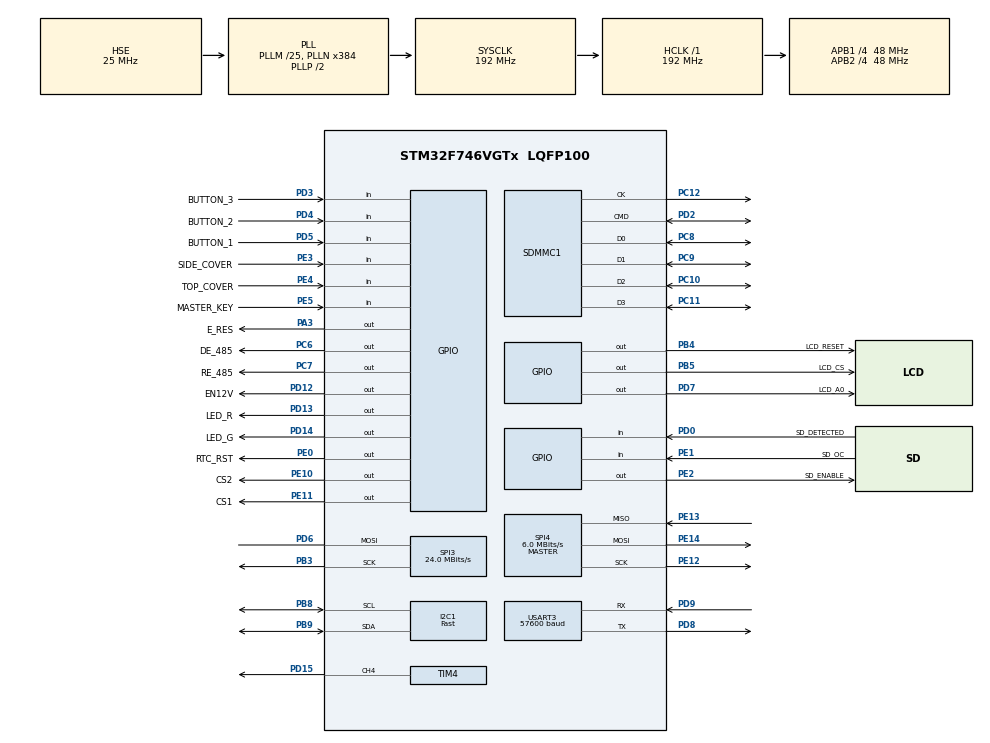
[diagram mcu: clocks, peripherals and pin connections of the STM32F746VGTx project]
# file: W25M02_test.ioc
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CORTEX_M7.ART_ACCLERATOR_ENABLE=1
CORTEX_M7.AccessPermission-Cortex_Memory_Protection_Unit_Region0_Settings=MPU_REGION_FULL_ACCESS
CORTEX_M7.BaseAddress-Cortex_Memory_Protection_Unit_Region0_Settings=0x20010000
CORTEX_M7.CPU_DCache=Enabled
CORTEX_M7.CPU_ICache=Enabled
CORTEX_M7.Enable-Cortex_Memory_Protection_Unit_Region0_Settings=MPU_REGION_ENABLE
CORTEX_M7.IsCacheable-Cortex_Memory_Protection_Unit_Region0_Settings=MPU_ACCESS_CACHEABLE
CORTEX_M7.MPU_Control=MPU_PRIVILEGED_DEFAULT
CORTEX_M7.PREFETCH_ENABLE=1
CORTEX_M7.Size-Cortex_Memory_Protection_Unit_Region0_Settings=MPU_REGION_SIZE_4KB
Dma.Request0=SDMMC1_RX
Dma.Request1=SDMMC1_TX
Dma.SDMMC1_RX.0.Direction=DMA_PERIPH_TO_MEMORY
Dma.SDMMC1_RX.0.FIFOMode=DMA_FIFOMODE_ENABLE
Dma.SDMMC1_RX.0.FIFOThreshold=DMA_FIFO_THRESHOLD_FULL
Dma.SDMMC1_RX.0.Instance=DMA2_Stream3
Dma.SDMMC1_RX.0.MemBurst=DMA_MBURST_INC4
Dma.SDMMC1_RX.0.MemDataAlignment=DMA_MDATAALIGN_WORD
Dma.SDMMC1_RX.0.MemInc=DMA_MINC_ENABLE
Dma.SDMMC1_RX.0.Mode=DMA_PFCTRL
Dma.SDMMC1_RX.0.PeriphBurst=DMA_PBURST_INC4
Dma.SDMMC1_RX.0.PeriphDataAlignment=DMA_PDATAALIGN_WORD
Dma.SDMMC1_RX.0.PeriphInc=DMA_PINC_DISABLE
Dma.SDMMC1_RX.0.Priority=DMA_PRIORITY_HIGH
Dma.SDMMC1_TX.1.Direction=DMA_MEMORY_TO_PERIPH
Dma.SDMMC1_TX.1.FIFOMode=DMA_FIFOMODE_ENABLE
Dma.SDMMC1_TX.1.FIFOThreshold=DMA_FIFO_THRESHOLD_FULL
Dma.SDMMC1_TX.1.Instance=DMA2_Stream6
Dma.SDMMC1_TX.1.MemBurst=DMA_MBURST_INC4
Dma.SDMMC1_TX.1.MemDataAlignment=DMA_MDATAALIGN_WORD
Dma.SDMMC1_TX.1.MemInc=DMA_MINC_ENABLE
Dma.SDMMC1_TX.1.Mode=DMA_PFCTRL
Dma.SDMMC1_TX.1.PeriphBurst=DMA_PBURST_INC4
Dma.SDMMC1_TX.1.PeriphDataAlignment=DMA_PDATAALIGN_WORD
Dma.SDMMC1_TX.1.PeriphInc=DMA_PINC_DISABLE
Dma.SDMMC1_TX.1.Priority=DMA_PRIORITY_HIGH
FATFS.BSP.number=1
FATFS._MAX_LFN=63
FATFS._MAX_SS=4096
FATFS._USE_LFN=3
FATFS._USE_MUTEX=1
FATFS0.BSP.STBoard=false
FATFS0.BSP.api=Unknown
FATFS0.BSP.i2caddr=0
FATFS0.BSP.instance=PD0
FATFS0.BSP.ip=GPIO
FATFS0.BSP.mode=Input
FATFS0.BSP.name=Detect_SDIO
FATFS0.BSP.solution=PD0
FREERTOS.HEAP_NUMBER=4
FREERTOS.INCLUDE_vTaskDelayUntil=1
FREERTOS.MEMORY_ALLOCATION=2
FREERTOS.Tasks01=defaultTask,0,512,StartDefaultTask,Default,NULL,Dynamic,NULL,NULL
FREERTOS.configTOTAL_HEAP_SIZE=32000
FREERTOS.configUSE_TIMERS=1
I2C1.I2C_Speed_Mode=I2C_Fast
I2C1.Timing=0x2010091A
IWDG.Prescaler=IWDG_PRESCALER_64
Mcu.Family=STM32F7
Mcu.Name=STM32F746VGTx
Mcu.Package=LQFP100
NVIC.DMA2_Stream3_IRQn=true\:5\:0\:false\:false\:true\:true\:false\:true
NVIC.DMA2_Stream6_IRQn=true\:5\:0\:false\:false\:true\:true\:false\:true
NVIC.PriorityGroup=NVIC_PRIORITYGROUP_4
NVIC.SDMMC1_IRQn=true\:5\:0\:false\:false\:true\:true\:true\:true
NVIC.TIM5_IRQn=true\:0\:0\:false\:false\:true\:false\:false\:true
NVIC.TimeBase=TIM5_IRQn
NVIC.TimeBaseIP=TIM5
NVIC.USART3_IRQn=true\:5\:0\:false\:false\:true\:true\:true\:true
PA13.Mode=Serial_Wire
PA13.Signal=SYS_JTMS-SWDIO
PA14.Mode=Serial_Wire
PA14.Signal=SYS_JTCK-SWCLK
PA3.GPIO_Label=E_RES
PA3.Signal=GPIO_Output
PB3.Mode=Simplex_Bidirectional_Master
PB3.Signal=SPI3_SCK
PB4.GPIO_Label=LCD_RESET
PB4.Signal=GPIO_Output
PB5.GPIO_Label=LCD_CS
PB5.Signal=GPIO_Output
PB8.Mode=I2C
PB8.Signal=I2C1_SCL
PB9.Mode=I2C
PB9.Signal=I2C1_SDA
PC10.Mode=SD_4_bits_Wide_bus
PC10.Signal=SDMMC1_D2
PC11.Mode=SD_4_bits_Wide_bus
PC11.Signal=SDMMC1_D3
PC12.Mode=SD_4_bits_Wide_bus
PC12.Signal=SDMMC1_CK
PC6.GPIO_Label=DE_485
PC6.Signal=GPIO_Output
PC7.GPIO_Label=RE_485
PC7.Signal=GPIO_Output
PC8.Mode=SD_4_bits_Wide_bus
PC8.Signal=SDMMC1_D0
PC9.Mode=SD_4_bits_Wide_bus
PC9.Signal=SDMMC1_D1
PD0.GPIO_Label=SD_DETECTED
PD0.Signal=GPIO_Input
PD12.GPIO_Label=EN12V
PD12.Signal=GPIO_Output
PD13.GPIO_Label=LED_R
PD13.Signal=GPIO_Output
PD14.GPIO_Label=LED_G
PD14.Signal=GPIO_Output
PD15.Signal=S_TIM4_CH4
PD2.Mode=SD_4_bits_Wide_bus
PD2.Signal=SDMMC1_CMD
PD3.GPIO_Label=BUTTON_3
PD3.Signal=GPIO_Input
PD4.GPIO_Label=BUTTON_2
PD4.Signal=GPIO_Input
PD5.GPIO_Label=BUTTON_1
PD5.Signal=GPIO_Input
PD6.Mode=Simplex_Bidirectional_Master
PD6.Signal=SPI3_MOSI
PD7.GPIO_Label=LCD_A0
PD7.Signal=GPIO_Output
PD8.Mode=Asynchronous
PD8.Signal=USART3_TX
PD9.Mode=Asynchronous
PD9.Signal=USART3_RX
PE0.GPIO_Label=RTC_RST
PE0.Signal=GPIO_Output
PE1.GPIO_Label=SD_OC
PE1.Signal=GPIO_Input
PE10.GPIO_Label=CS2
PE10.GPIO_Speed=GPIO_SPEED_FREQ_HIGH
PE10.Signal=GPIO_Output
PE11.GPIO_Label=CS1
PE11.GPIO_Speed=GPIO_SPEED_FREQ_HIGH
PE11.Signal=GPIO_Output
PE12.Mode=Full_Duplex_Master
PE12.Signal=SPI4_SCK
PE13.Mode=Full_Duplex_Master
PE13.Signal=SPI4_MISO
PE14.Mode=Full_Duplex_Master
PE14.Signal=SPI4_MOSI
PE2.GPIO_Label=SD_ENABLE
PE2.Signal=GPIO_Output
PE3.GPIO_Label=SIDE_COVER
PE3.Signal=GPIO_Input
PE4.GPIO_Label=TOP_COVER
PE4.Signal=GPIO_Input
PE5.GPIO_Label=MASTER_KEY
PE5.Signal=GPIO_Input
PH0/OSC_IN.Mode=HSE-External-Oscillator
PH0/OSC_IN.Signal=RCC_OSC_IN
PH1/OSC_OUT.Mode=HSE-External-Oscillator
PH1/OSC_OUT.Signal=RCC_OSC_OUT
ProjectManager.HeapSize=0x2000
ProjectManager.StackSize=0x4000
ProjectManager.TargetToolchain=MDK-ARM V5
RCC.AHBFreq_Value=192000000
RCC.APB1CLKDivider=RCC_HCLK_DIV4
RCC.APB1Freq_Value=48000000
RCC.APB1TimFreq_Value=96000000
RCC.APB2CLKDivider=RCC_HCLK_DIV4
RCC.APB2Freq_Value=48000000
RCC.APB2TimFreq_Value=96000000
RCC.CortexFreq_Value=192000000
RCC.HCLKFreq_Value=192000000
RCC.HSE_VALUE=25000000
RCC.HSI_VALUE=16000000
RCC.LSE_VALUE=32768
RCC.PLLM=25
RCC.PLLN=384
RCC.PLLQ=8
RCC.PLLSAIP=RCC_PLLSAIP_DIV4
RCC.PLLSourceVirtual=RCC_PLLSOURCE_HSE
RCC.SDMMCClockSelection=RCC_SDMMC1CLKSOURCE_CLK48
RCC.SYSCLKFreq_VALUE=192000000
RCC.SYSCLKSource=RCC_SYSCLKSOURCE_PLLCLK
RCC.USBFreq_Value=48000000
RCC.VCOOutputFreq_Value=384000000
SDMMC1.ClockDiv=2
SH.S_TIM4_CH4.0=TIM4_CH4,PWM Generation4 CH4
SPI3.CalculateBaudRate=24.0 MBits/s
SPI3.DataSize=SPI_DATASIZE_8BIT
SPI3.Direction=SPI_DIRECTION_1LINE
SPI3.Mode=SPI_MODE_MASTER
SPI3.VirtualType=VM_MASTER
SPI4.BaudRatePrescaler=SPI_BAUDRATEPRESCALER_8
SPI4.CLKPolarity=SPI_POLARITY_LOW
SPI4.CalculateBaudRate=6.0 MBits/s
SPI4.DataSize=SPI_DATASIZE_8BIT
SPI4.Direction=SPI_DIRECTION_2LINES
SPI4.Mode=SPI_MODE_MASTER
SPI4.VirtualType=VM_MASTER
TIM4.Channel-PWM\ Generation4\ CH4=TIM_CHANNEL_4
TIM4.Period=500
TIM4.Prescaler=240
USART3.BaudRate=57600
USART3.VirtualMode-Asynchronous=VM_ASYNC
VP_FATFS_VS_SDIO.Mode=SDIO
VP_FREERTOS_VS_CMSIS_V1.Mode=CMSIS_V1
VP_IWDG_VS_IWDG.Mode=IWDG_Activate
VP_SYS_VS_tim5.Mode=TIM5
VP_TIM4_VS_ClockSourceINT.Mode=Internal
VP_TIM6_VS_ClockSourceINT.Mode=Enable_Timer
board=custom

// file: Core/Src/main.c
/* USER CODE BEGIN Header */
/**
  ******************************************************************************
  * @file           : main.c
  * @brief          : Main program body
  ******************************************************************************
  * @attention
  *
  * <h2><center>&copy; Copyright (c) 2022 STMicroelectronics.
  * All rights reserved.</center></h2>
  *
  * This software component is licensed by ST under Ultimate Liberty license
  * SLA0044, the "License"; You may not use this file except in compliance with
  * the License. You may obtain a copy of the License at:
  *                             www.st.com/SLA0044
  *
  ******************************************************************************
  */
/* USER CODE END Header */
#include "main.h"
#include "cmsis_os.h"
#include "dma.h"
#include "fatfs.h"
#include "i2c.h"
#include "iwdg.h"
#include "sdmmc.h"
#include "spi.h"
#include "tim.h"
#include "usart.h"
#include "gpio.h"

/* USER CODE BEGIN Includes */
#include "flash_W25M02.h"
/* USER CODE END Includes */

/* USER CODE BEGIN PV */
uint8_t test1 [] = "192.168.007.013  18/03/22 10:43:29__cell_14=0,1,0,0,0";
uint8_t test2 [PAGE_SIZE] = {0};
/* USER CODE END PV */

void SystemClock_Config(void);
static void MPU_Config(void);
void MX_FREERTOS_Init(void);

/* USER CODE BEGIN 0 */
uint8_t size = 0;

char UART3_msg_TX [RS232_BUFFER_SIZE];
char RS485_RXbuffer [RX_BUFFER_SIZE] = {0};

uint8_t flash_rx_buf[20] = {0};
uint8_t page_buf [2048] = {0};
uint8_t flash_tx_buf[10];

char logSDPath; // User logical drive path
FIL logfile;     //файловый объект
FATFS log_fs ;    // рабочая область (file system object) для логических диска
FRESULT result; //код возврата функций FatFs
uint8_t work [_MAX_SS];
const char FileName [] = "log.txt";
uint32_t byteswritten, bytesread; //счетчик чтения/записи файла
char wtext[TXT_BUFFER_SIZE] = {"It`s_a_test_version\r\n"};  //буффер записи на SD карту
uint8_t rtext[TXT_BUFFER_SIZE]; //буффер считанных данных с SD карты
/* USER CODE END 0 */

int main(void)
{

  /* MPU Configuration--------------------------------------------------------*/
  MPU_Config();

  /* Enable I-Cache---------------------------------------------------------*/
  SCB_EnableICache();

  /* Enable D-Cache---------------------------------------------------------*/
  SCB_EnableDCache();

  /* MCU Configuration--------------------------------------------------------*/

  /* Reset of all peripherals, Initializes the Flash interface and the Systick. */
  HAL_Init();

  /* Configure the system clock */
  SystemClock_Config();

  /* Initialize all configured peripherals */
  MX_GPIO_Init();
  MX_DMA_Init();
  MX_I2C1_Init();
  MX_USART3_UART_Init();
  MX_FATFS_Init();
  MX_IWDG_Init();
  MX_SPI3_Init();
  MX_TIM4_Init();
  MX_SPI4_Init();
  MX_TIM6_Init();
  MX_SDMMC1_SD_Init();
  /* USER CODE BEGIN 2 */
	SPI4_CS1_OFF;
	SPI4_CS2_OFF;
	ENABLE_SD_CARD;

	for (uint16_t count = 0; count < (PAGE_SIZE-3); count++)
	{
		*(test2+count) = 0x7E;
	}
	test2 [PAGE_SIZE-3] = '\r'; test2 [PAGE_SIZE-2] = '\n'; test2 [PAGE_SIZE-1] = '\0';
	size = (sizeof (test1)/sizeof (*test1));
	W25M_Reset ();

/*	W25M_ReadID (flash_rx_buf);
	sprintf (UART3_msg_TX,"ID=%x %x %x %x %x %x\r\n", *(flash_rx_buf), *(flash_rx_buf+1), *(flash_rx_buf+2), *(flash_rx_buf+3), *(flash_rx_buf+4), *(flash_rx_buf+5));
	UART3_SendString ((char*)UART3_msg_TX);

	size = (sizeof (test1)/sizeof (*test1));*/

//	W25M_EraseSector (0x1, CHIP_1);
/*	W25M_Write_SR (SREGISTR_1, 0x80, CHIP_1);
	W25M_Write_SR (SREGISTR_2, 0x18, CHIP_1);
	W25M_Read_SR (flash_rx_buf, CHIP_1);
	sprintf (UART3_msg_TX,"SR1=%x SR2=%x SR3=%x \r\n", *(flash_rx_buf), *(flash_rx_buf+1), *(flash_rx_buf+2));
	UART3_SendString ((char*)UART3_msg_TX);
	W25M_WritePage (test2, PAGE_SIZE, 0, 0, CHIP_1);
	HAL_Delay (5);
	W25M_ReadData (page_buf, PAGE_SIZE, 0, 0, CHIP_1);

	sprintf (UART3_msg_TX,"%u%u%u%u%u%u%u%u%u%u%u\r\n", page_buf[0], page_buf[1],page_buf[2],page_buf[3],page_buf[4],page_buf[5],page_buf[6],page_buf[7],page_buf[8],page_buf[9],page_buf[10]);
	UART3_SendString ((char*)UART3_msg_TX)*/

	UART3_SendString ("start_test\r\n");
  /* USER CODE END 2 */

  /* Call init function for freertos objects (in freertos.c) */
  MX_FREERTOS_Init();
  /* Start scheduler */
  osKernelStart();

  /* We should never get here as control is now taken by the scheduler */
  /* Infinite loop */
  while (1)
  {

  }
}

void SystemClock_Config(void)
{
  RCC_OscInitTypeDef RCC_OscInitStruct = {0};
  RCC_ClkInitTypeDef RCC_ClkInitStruct = {0};
  RCC_PeriphCLKInitTypeDef PeriphClkInitStruct = {0};

  /** Configure the main internal regulator output voltage
  */
  __HAL_RCC_PWR_CLK_ENABLE();
  __HAL_PWR_VOLTAGESCALING_CONFIG(PWR_REGULATOR_VOLTAGE_SCALE1);
  /** Initializes the RCC Oscillators according to the specified parameters
  * in the RCC_OscInitTypeDef structure.
  */
  RCC_OscInitStruct.OscillatorType = RCC_OSCILLATORTYPE_LSI|RCC_OSCILLATORTYPE_HSE;
  RCC_OscInitStruct.HSEState = RCC_HSE_ON;
  RCC_OscInitStruct.LSIState = RCC_LSI_ON;
  RCC_OscInitStruct.PLL.PLLState = RCC_PLL_ON;
  RCC_OscInitStruct.PLL.PLLSource = RCC_PLLSOURCE_HSE;
  RCC_OscInitStruct.PLL.PLLM = 25;
  RCC_OscInitStruct.PLL.PLLN = 384;
  RCC_OscInitStruct.PLL.PLLP = RCC_PLLP_DIV2;
  RCC_OscInitStruct.PLL.PLLQ = 8;
  if (HAL_RCC_OscConfig(&RCC_OscInitStruct) != HAL_OK)
  {
    Error_Handler();
  }
  /** Activate the Over-Drive mode
  */
  if (HAL_PWREx_EnableOverDrive() != HAL_OK)
  {
    Error_Handler();
  }
  /** Initializes the CPU, AHB and APB buses clocks
  */
  RCC_ClkInitStruct.ClockType = RCC_CLOCKTYPE_HCLK|RCC_CLOCKTYPE_SYSCLK
                              |RCC_CLOCKTYPE_PCLK1|RCC_CLOCKTYPE_PCLK2;
  RCC_ClkInitStruct.SYSCLKSource = RCC_SYSCLKSOURCE_PLLCLK;
  RCC_ClkInitStruct.AHBCLKDivider = RCC_SYSCLK_DIV1;
  RCC_ClkInitStruct.APB1CLKDivider = RCC_HCLK_DIV4;
  RCC_ClkInitStruct.APB2CLKDivider = RCC_HCLK_DIV4;

  if (HAL_RCC_ClockConfig(&RCC_ClkInitStruct, FLASH_LATENCY_6) != HAL_OK)
  {
    Error_Handler();
  }
  PeriphClkInitStruct.PeriphClockSelection = RCC_PERIPHCLK_USART3|RCC_PERIPHCLK_I2C1
                              |RCC_PERIPHCLK_SDMMC1|RCC_PERIPHCLK_CLK48;
  PeriphClkInitStruct.Usart3ClockSelection = RCC_USART3CLKSOURCE_PCLK1;
  PeriphClkInitStruct.I2c1ClockSelection = RCC_I2C1CLKSOURCE_PCLK1;
  PeriphClkInitStruct.Clk48ClockSelection = RCC_CLK48SOURCE_PLL;
  PeriphClkInitStruct.Sdmmc1ClockSelection = RCC_SDMMC1CLKSOURCE_CLK48;
  if (HAL_RCCEx_PeriphCLKConfig(&PeriphClkInitStruct) != HAL_OK)
  {
    Error_Handler();
  }
}

/* MPU Configuration */

void MPU_Config(void)
{
  MPU_Region_InitTypeDef MPU_InitStruct = {0};

  /* Disables the MPU */
  HAL_MPU_Disable();
  /** Initializes and configures the Region and the memory to be protected
  */
  MPU_InitStruct.Enable = MPU_REGION_ENABLE;
  MPU_InitStruct.Number = MPU_REGION_NUMBER0;
  MPU_InitStruct.BaseAddress = 0x20010000;
  MPU_InitStruct.Size = MPU_REGION_SIZE_4KB;
  MPU_InitStruct.SubRegionDisable = 0x0;
  MPU_InitStruct.TypeExtField = MPU_TEX_LEVEL0;
  MPU_InitStruct.AccessPermission = MPU_REGION_FULL_ACCESS;
  MPU_InitStruct.DisableExec = MPU_INSTRUCTION_ACCESS_ENABLE;
  MPU_InitStruct.IsShareable = MPU_ACCESS_NOT_SHAREABLE;
  MPU_InitStruct.IsCacheable = MPU_ACCESS_CACHEABLE;
  MPU_InitStruct.IsBufferable = MPU_ACCESS_NOT_BUFFERABLE;

  HAL_MPU_ConfigRegion(&MPU_InitStruct);
  /* Enables the MPU */
  HAL_MPU_Enable(MPU_PRIVILEGED_DEFAULT);

}
void HAL_TIM_PeriodElapsedCallback(TIM_HandleTypeDef *htim)
{
  if (htim->Instance == TIM5) {
    HAL_IncTick();
  }
}

void Error_Handler(void)
{
  __disable_irq();
  while (1)
  {
  }
}

/************************ (C) COPYRIGHT STMicroelectronics *****END OF FILE****/

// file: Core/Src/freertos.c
/* USER CODE BEGIN Header */
/**
  ******************************************************************************
  * File Name          : freertos.c
  * Description        : Code for freertos applications
  ******************************************************************************
  * @attention
  *
  * <h2><center>&copy; Copyright (c) 2022 STMicroelectronics.
  * All rights reserved.</center></h2>
  *
  * This software component is licensed by ST under Ultimate Liberty license
  * SLA0044, the "License"; You may not use this file except in compliance with
  * the License. You may obtain a copy of the License at:
  *                             www.st.com/SLA0044
  *
  ******************************************************************************
  */
/* USER CODE END Header */

#include "FreeRTOS.h"
#include "task.h"
#include "main.h"
#include "cmsis_os.h"

/* USER CODE BEGIN Includes */
#include "iwdg.h"
#include "usart.h"
#include "gpio.h"
#include "fatfs.h"
/* USER CODE END Includes */

/* USER CODE BEGIN Variables */
osTimerId osProgTimerIWDG;  //программный таймер перезагружающий сторожевик

extern char logSDPath;  // User logical drive path
extern FIL logfile;     //файловый объект
extern FATFS log_fs ;    // рабочая область (file system object) для логических диска
extern FRESULT result; //код возврата функций FatFs
extern uint8_t work [_MAX_SS];
extern uint32_t byteswritten, bytesread; //счетчики записи/чтения файла
extern uint8_t rtext[TXT_BUFFER_SIZE]; //буффер считанных данных с SD карты
extern char wtext[TXT_BUFFER_SIZE];  //буффер записи на SD карту
extern const char FileName [];
/* USER CODE END Variables */
osThreadId defaultTaskHandle;

/* USER CODE BEGIN FunctionPrototypes */
void ProgTimerIWDGCallback(void const *argument);
/* USER CODE END FunctionPrototypes */

void StartDefaultTask(void const * argument);

void MX_FREERTOS_Init(void); /* (MISRA C 2004 rule 8.1) */

/* GetIdleTaskMemory prototype (linked to static allocation support) */
void vApplicationGetIdleTaskMemory( StaticTask_t **ppxIdleTaskTCBBuffer, StackType_t **ppxIdleTaskStackBuffer, uint32_t *pulIdleTaskStackSize );

/* GetTimerTaskMemory prototype (linked to static allocation support) */
void vApplicationGetTimerTaskMemory( StaticTask_t **ppxTimerTaskTCBBuffer, StackType_t **ppxTimerTaskStackBuffer, uint32_t *pulTimerTaskStackSize );

/* USER CODE BEGIN GET_IDLE_TASK_MEMORY */
static StaticTask_t xIdleTaskTCBBuffer;
static StackType_t xIdleStack[configMINIMAL_STACK_SIZE];

void vApplicationGetIdleTaskMemory( StaticTask_t **ppxIdleTaskTCBBuffer, StackType_t **ppxIdleTaskStackBuffer, uint32_t *pulIdleTaskStackSize )
{
  *ppxIdleTaskTCBBuffer = &xIdleTaskTCBBuffer;
  *ppxIdleTaskStackBuffer = &xIdleStack[0];
  *pulIdleTaskStackSize = configMINIMAL_STACK_SIZE;
  /* place for user code */
}
/* USER CODE END GET_IDLE_TASK_MEMORY */

/* USER CODE BEGIN GET_TIMER_TASK_MEMORY */
static StaticTask_t xTimerTaskTCBBuffer;
static StackType_t xTimerStack[configTIMER_TASK_STACK_DEPTH];

void vApplicationGetTimerTaskMemory( StaticTask_t **ppxTimerTaskTCBBuffer, StackType_t **ppxTimerTaskStackBuffer, uint32_t *pulTimerTaskStackSize )
{
  *ppxTimerTaskTCBBuffer = &xTimerTaskTCBBuffer;
  *ppxTimerTaskStackBuffer = &xTimerStack[0];
  *pulTimerTaskStackSize = configTIMER_TASK_STACK_DEPTH;
  /* place for user code */
}
/* USER CODE END GET_TIMER_TASK_MEMORY */

void MX_FREERTOS_Init(void) {

  /* USER CODE BEGIN RTOS_TIMERS */
  osTimerDef (TimerIWDG, ProgTimerIWDGCallback);
	osProgTimerIWDG = osTimerCreate(osTimer (TimerIWDG), osTimerPeriodic, NULL);
  /* USER CODE END RTOS_TIMERS */

  /* Create the thread(s) */
  /* definition and creation of defaultTask */
  osThreadDef(defaultTask, StartDefaultTask, osPriorityNormal, 0, 512);
  defaultTaskHandle = osThreadCreate(osThread(defaultTask), NULL);

}

void StartDefaultTask(void const * argument)
{
  /* USER CODE BEGIN StartDefaultTask */
	osTimerStart(osProgTimerIWDG, 2000); //запуск циклического таймера
	result = f_mkfs (&logSDPath, FM_FAT32, 0, work, 512);
	if (result != FR_OK)
		UART3_SendString ("Formating_SD_card_failed\r\n");
	mount_card (&log_fs);
	byteswritten = 21;

  /* Infinite loop */
  for(;;)
  {
   	LED_RED (1);
		write_reg (&logfile, FileName, wtext);
		osDelay (2000);
		LED_RED (0);
		read_txt (&logfile, FileName, byteswritten);
		osDelay (2000);
  }
  /* USER CODE END StartDefaultTask */
}

/* USER CODE BEGIN Application */

//************************************************мигание светодиодом************************************************//
void Switch_Led (void const * argument)
{
	for(;;)
  {
		LED_RED (1);
		osDelay (1000);
		LED_RED (0);
		osDelay (1000);
	}
}

//******************************************************************************************************************//
void ProgTimerIWDGCallback(void const *argument)
{
	HAL_IWDG_Refresh(&hiwdg); //перезагрузка iwdg
}
/* USER CODE END Application */

/************************ (C) COPYRIGHT STMicroelectronics *****END OF FILE****/
